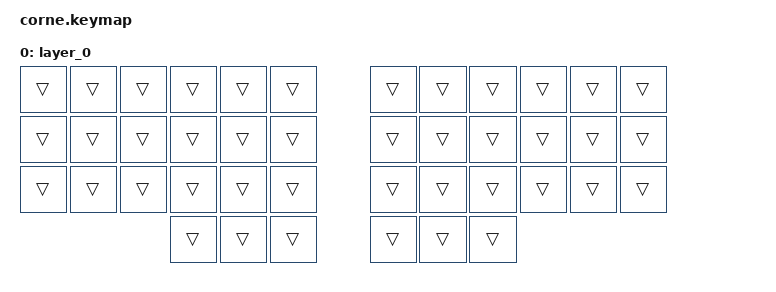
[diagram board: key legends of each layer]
#include <behaviors.dtsi>

#define DEF 0
#define NAV 1
#define SYM 2
#define ADJ 3

/ {
    combos { compatible = "zmk,combos"; };

    //

    keymap {
        compatible = "zmk,keymap";

        layer_0 {
            bindings = <
&trans  &trans  &trans  &trans  &trans  &trans    &trans  &trans  &trans  &trans  &trans  &trans
&trans  &trans  &trans  &trans  &trans  &trans    &trans  &trans  &trans  &trans  &trans  &trans
&trans  &trans  &trans  &trans  &trans  &trans    &trans  &trans  &trans  &trans  &trans  &trans
                        &trans  &trans  &trans    &trans  &trans  &trans
            >;
        };
    };

    conditional_layers { compatible = "zmk,conditional-layers"; };
};
